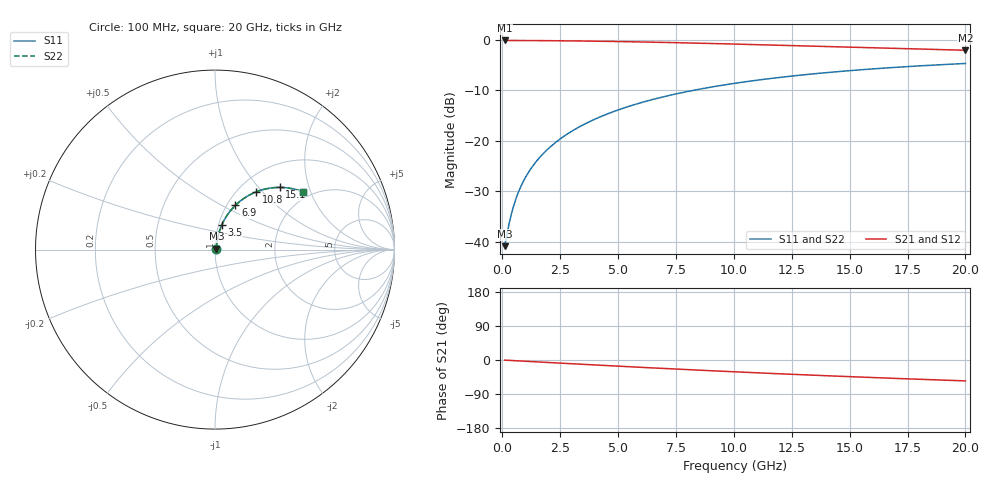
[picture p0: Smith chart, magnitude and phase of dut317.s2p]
! Touchstone file exported from HFSS 2026.1.0
!  File:  C:/ffzhzh/LocalFiles/Ansys_Project_Files/temp_train_TMRDL_317_1783003391_53980.aedt
!  Generated:  10:44:35 PM Jul  2, 2026
!  Design:  TMRDL
!  Project:  temp_train_TMRDL_317_1783003391_53980
! Variables:
!  h_bsmrdl = 2um
!  h_ox = 20um
!  h_rdl = 5um
!  h_sub = 80um
!  h_tmrdl = 3.3um
!  h_tsv = 80um
!  h_via = 3um
!  l_bsmrdl = 300um
!  l_sub = 1179.27um
!  l_tmrdl = 779.27um
!  m_sub = 200um
!  pitch = 43.69um
!  r_tsv = 6um
!  s_tmrdl = 10um
!  w_bsmrdl = 18um
!  w_sub = 500um
!  w_tmrdl = 10.5um
!  x_tsv_center1 = 784.52um
!  x_tsv_center2 = 1102.52um
!  x_tsv_center3 = 1892.29um
!  x_tsv_center4 = 2210.29um
!  x_tsv_center5 = 3000.06um
!  x_tsv_center6 = 3318.06um
# GHz S MA R 50.000000
! Terminal data exported
! Port[1] = TM_RDL1_1_T1
! Port[2] = TM_RDL1_1_T2
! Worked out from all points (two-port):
!   200 points, 100 MHz to 20 GHz, reference 50 ohm
!   highest |S21| = -0.07 dB at 100 MHz (marker M1); lowest = -2.0 dB at 20 GHz (marker M2)
!   |S21| within 3 dB of the highest: start of sweep to end of sweep
!   lowest |S11| = -40.9 dB at 100 MHz (marker M3), VSWR 1.02, Z = 50.8 + j0.438 ohm
!   |S11| at or under -10 dB: start of sweep to 8.22 GHz
!   |S22| runs from -40.9 to -4.6 dB; largest |S21 - S12| = 3e-15
!   S11 on the Smith chart (normalised r, x): 100 MHz: 1.02, +0.01; 3.5 GHz: 1.04, +0.30; 6.9 GHz: 1.09, +0.58; 10.8 GHz: 1.21, +0.92; 15.1 GHz: 1.41, +1.31; 20 GHz: 1.80, +1.77
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0.1  0.009013 28.6  0.9921 -0.3  0.9921 -0.3  0.009013 28.6
! Gamma 0 0 0 0
! Port Impedance 50 0 50 0
0.3  0.0153 57.3  0.9919 -1.0  0.9919 -1.0  0.0153 57.3
0.4  0.01912 63.4  0.9917 -1.4  0.9917 -1.4  0.01912 63.4
0.6  0.02709 69.9  0.9913 -2.0  0.9913 -2.0  0.02709 69.9
0.7  0.03114 71.8  0.991 -2.4  0.991 -2.4  0.03114 71.8
0.9  0.03927 74.2  0.9906 -3.0  0.9906 -3.0  0.03927 74.2
1.2  0.05151 76.0  0.9898 -4.0  0.9898 -4.0  0.05151 76.0
1.7  0.07194 77.0  0.9882 -5.7  0.9882 -5.7  0.07194 77.0
2.2  0.09231 76.8  0.9863 -7.3  0.9863 -7.3  0.09231 76.8
2.8  0.1166 75.9  0.9835 -9.2  0.9835 -9.2  0.1166 75.9
3.5  0.1446 74.5  0.9794 -11.5  0.9794 -11.5  0.1446 74.4
4.2  0.172 72.7  0.9745 -13.7  0.9745 -13.7  0.172 72.7
5  0.2027 70.6  0.9681 -16.3  0.9681 -16.3  0.2027 70.6
6.8  0.2682 65.6  0.951 -21.8  0.951 -21.8  0.2683 65.5
6.9  0.2717 65.3  0.9499 -22.1  0.9499 -22.1  0.2717 65.2
8.4  0.3221 61.1  0.9332 -26.5  0.9332 -26.5  0.3221 61.0
10.1  0.3744 56.4  0.9127 -31.4  0.9127 -31.4  0.3744 56.4
10.8  0.3945 54.6  0.9039 -33.3  0.9039 -33.3  0.3945 54.5
13.4  0.4617 48.0  0.8709 -40.0  0.8709 -40.0  0.4617 47.9
15.1  0.4997 44.0  0.8496 -44.2  0.8496 -44.2  0.4997 43.8
16.7  0.5315 40.3  0.8302 -47.9  0.8302 -47.9  0.5316 40.2
20  0.5861 33.3  0.7932 -55.1  0.7932 -55.1  0.5861 33.2
